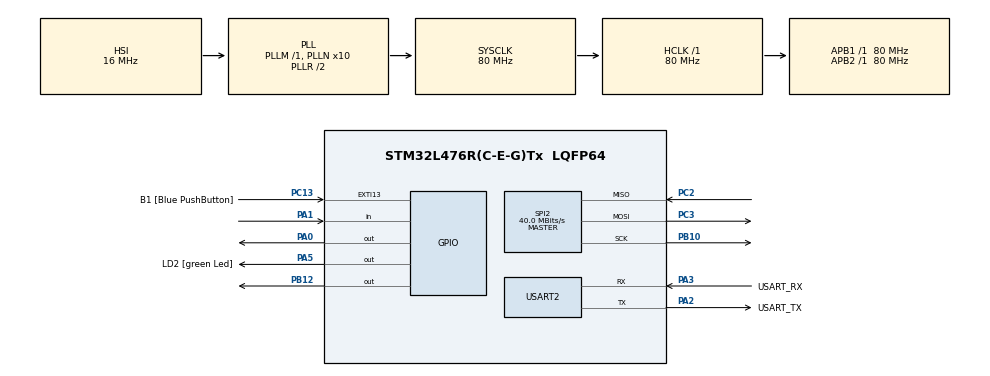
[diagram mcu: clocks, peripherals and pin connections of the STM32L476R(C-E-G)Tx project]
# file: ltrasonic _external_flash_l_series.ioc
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Mcu.Family=STM32L4
Mcu.Name=STM32L476R(C-E-G)Tx
Mcu.Package=LQFP64
NVIC.PriorityGroup=NVIC_PRIORITYGROUP_4
NVIC.TIM2_IRQn=true\:0\:0\:false\:false\:true\:true\:true\:true
PA0.Signal=GPIO_Output
PA1.Signal=GPIO_Input
PA13\ (JTMS-SWDIO).GPIO_Label=TMS
PA13\ (JTMS-SWDIO).Mode=Serial_Wire
PA13\ (JTMS-SWDIO).Signal=SYS_JTMS-SWDIO
PA14\ (JTCK-SWCLK).GPIO_Label=TCK
PA14\ (JTCK-SWCLK).Mode=Serial_Wire
PA14\ (JTCK-SWCLK).Signal=SYS_JTCK-SWCLK
PA2.GPIO_Label=USART_TX
PA2.GPIO_Mode=GPIO_MODE_AF_PP
PA2.GPIO_PuPd=GPIO_NOPULL
PA2.GPIO_Speed=GPIO_SPEED_FREQ_VERY_HIGH
PA2.Mode=Asynchronous
PA2.Signal=USART2_TX
PA3.GPIO_Label=USART_RX
PA3.GPIO_Mode=GPIO_MODE_AF_PP
PA3.GPIO_PuPd=GPIO_NOPULL
PA3.GPIO_Speed=GPIO_SPEED_FREQ_VERY_HIGH
PA3.Mode=Asynchronous
PA3.Signal=USART2_RX
PA5.GPIO_Label=LD2 [green Led]
PA5.GPIO_ModeDefaultOutputPP=GPIO_MODE_OUTPUT_PP
PA5.GPIO_PuPd=GPIO_NOPULL
PA5.GPIO_Speed=GPIO_SPEED_FREQ_LOW
PA5.Signal=GPIO_Output
PB10.Mode=Full_Duplex_Master
PB10.Signal=SPI2_SCK
PB12.PinState=GPIO_PIN_SET
PB12.Signal=GPIO_Output
PB3\ (JTDO-TRACESWO).GPIO_Label=SWO
PB3\ (JTDO-TRACESWO).Signal=SYS_JTDO-SWO
PC13.GPIO_Label=B1 [Blue PushButton]
PC13.GPIO_ModeDefaultEXTI=GPIO_MODE_IT_FALLING
PC13.GPIO_PuPd=GPIO_NOPULL
PC13.Signal=GPXTI13
PC14-OSC32_IN\ (PC14).Mode=LSE-External-Oscillator
PC14-OSC32_IN\ (PC14).Signal=RCC_OSC32_IN
PC15-OSC32_OUT\ (PC15).Mode=LSE-External-Oscillator
PC15-OSC32_OUT\ (PC15).Signal=RCC_OSC32_OUT
PC2.Mode=Full_Duplex_Master
PC2.Signal=SPI2_MISO
PC3.Mode=Full_Duplex_Master
PC3.Signal=SPI2_MOSI
PH0-OSC_IN\ (PH0).Signal=RCC_OSC_IN
PH1-OSC_OUT\ (PH1).Signal=RCC_OSC_OUT
ProjectManager.HeapSize=0x200
ProjectManager.StackSize=0x400
ProjectManager.TargetToolchain=STM32CubeIDE
RCC.ADCFreq_Value=64000000
RCC.AHBFreq_Value=80000000
RCC.APB1Freq_Value=80000000
RCC.APB1TimFreq_Value=80000000
RCC.APB2Freq_Value=80000000
RCC.APB2TimFreq_Value=80000000
RCC.CortexFreq_Value=80000000
RCC.HCLKFreq_Value=80000000
RCC.HSE_VALUE=8000000
RCC.HSI_VALUE=16000000
RCC.MSI_VALUE=4000000
RCC.PLLN=10
RCC.PLLSourceVirtual=RCC_PLLSOURCE_HSI
RCC.PREFETCH_ENABLE=1
RCC.SYSCLKFreq_VALUE=80000000
RCC.SYSCLKSource=RCC_SYSCLKSOURCE_PLLCLK
RCC.USBFreq_Value=64000000
RCC.VCOOutputFreq_Value=160000000
SPI2.BaudRatePrescaler=SPI_BAUDRATEPRESCALER_2
SPI2.CalculateBaudRate=40.0 MBits/s
SPI2.DataSize=SPI_DATASIZE_8BIT
SPI2.Direction=SPI_DIRECTION_2LINES
SPI2.Mode=SPI_MODE_MASTER
SPI2.VirtualType=VM_MASTER
USART2.VirtualMode-Asynchronous=VM_ASYNC
VP_TIM2_VS_ClockSourceINT.Mode=Internal
board=NUCLEO-L476RG

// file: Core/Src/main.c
/* USER CODE BEGIN Header */
/**
 ******************************************************************************
 * @file           : main.c
 * @brief          : Main program body
 ******************************************************************************
 * @attention
 *
 * Copyright (c) 2025 STMicroelectronics.
 * All rights reserved.
 *
 * This software is licensed under terms that can be found in the LICENSE file
 * in the root directory of this software component.
 * If no LICENSE file comes with this software, it is provided AS-IS.
 *
 ******************************************************************************
 */
/* USER CODE END Header */
#include "main.h"

/* USER CODE BEGIN Includes */
#include "w25qxx.h"
/* USER CODE END Includes */

/* USER CODE BEGIN PD */
#define TRIG_PIN GPIO_PIN_0
#define TRIG_PORT GPIOA
#define ECHO_PIN GPIO_PIN_1
#define ECHO_PORT GPIOA
/* USER CODE END PD */

SPI_HandleTypeDef hspi2;

TIM_HandleTypeDef htim2;

UART_HandleTypeDef huart2;

void SystemClock_Config(void);
static void MX_GPIO_Init(void);
static void MX_USART2_UART_Init(void);
static void MX_SPI2_Init(void);
static void MX_TIM2_Init(void);

/* USER CODE BEGIN 0 */
void delay_us(uint16_t us)
{
	__HAL_TIM_SET_COUNTER(&htim2, 0);
	while(__HAL_TIM_GET_COUNTER(&htim2) < us);
}

uint32_t Ultrasonic_Read(void)
{
	uint32_t duration, distance;

	// 1. Trigger pulse 10us
	HAL_GPIO_WritePin(TRIG_PORT, TRIG_PIN, GPIO_PIN_SET);
	delay_us(10);
	HAL_GPIO_WritePin(TRIG_PORT, TRIG_PIN, GPIO_PIN_RESET);

	// 2. Wait for Echo HIGH
	while(HAL_GPIO_ReadPin(ECHO_PORT, ECHO_PIN) == GPIO_PIN_RESET);

	// 3. Measure duration of Echo HIGH
	__HAL_TIM_SET_COUNTER(&htim2, 0);
	while(HAL_GPIO_ReadPin(ECHO_PORT, ECHO_PIN) == GPIO_PIN_SET);
	duration = __HAL_TIM_GET_COUNTER(&htim2);

	// 4. Distance in cm
	distance = duration * 0.034 / 2;

	return distance;
}
/* USER CODE END 0 */

int main(void)
{

  /* USER CODE BEGIN 1 */
//	uint8_t ucDataBuff[] = "Hello Flash Iam From STM32";
//	uint16_t uhTxSize = sizeof(ucDataBuff);
//	uint8_t ucRxBuff[100] = {0};
  /* USER CODE END 1 */

  /* MCU Configuration--------------------------------------------------------*/

  /* Reset of all peripherals, Initializes the Flash interface and the Systick. */
  HAL_Init();

  /* Configure the system clock */
  SystemClock_Config();

  /* Initialize all configured peripherals */
  MX_GPIO_Init();
  MX_USART2_UART_Init();
  MX_SPI2_Init();
  MX_TIM2_Init();
  /* USER CODE BEGIN 2 */

	uint32_t flash_addr = USER_ADDR_1;
  /* USER CODE END 2 */

  /* Infinite loop */
	while (1)
	{

    /* USER CODE BEGIN 3 */

		uint32_t dist = Ultrasonic_Read();
		HAL_Delay(200);
		W25QxxFlashReadData((uint8_t*)&dist, sizeof(dist), flash_addr);

		flash_addr += sizeof(dist);
		HAL_Delay(100);
	}
  /* USER CODE END 3 */
}

void SystemClock_Config(void)
{
  RCC_OscInitTypeDef RCC_OscInitStruct = {0};
  RCC_ClkInitTypeDef RCC_ClkInitStruct = {0};

  /** Configure the main internal regulator output voltage
  */
  if (HAL_PWREx_ControlVoltageScaling(PWR_REGULATOR_VOLTAGE_SCALE1) != HAL_OK)
  {
    Error_Handler();
  }

  /** Initializes the RCC Oscillators according to the specified parameters
  * in the RCC_OscInitTypeDef structure.
  */
  RCC_OscInitStruct.OscillatorType = RCC_OSCILLATORTYPE_HSI;
  RCC_OscInitStruct.HSIState = RCC_HSI_ON;
  RCC_OscInitStruct.HSICalibrationValue = RCC_HSICALIBRATION_DEFAULT;
  RCC_OscInitStruct.PLL.PLLState = RCC_PLL_ON;
  RCC_OscInitStruct.PLL.PLLSource = RCC_PLLSOURCE_HSI;
  RCC_OscInitStruct.PLL.PLLM = 1;
  RCC_OscInitStruct.PLL.PLLN = 10;
  RCC_OscInitStruct.PLL.PLLP = RCC_PLLP_DIV7;
  RCC_OscInitStruct.PLL.PLLQ = RCC_PLLQ_DIV2;
  RCC_OscInitStruct.PLL.PLLR = RCC_PLLR_DIV2;
  if (HAL_RCC_OscConfig(&RCC_OscInitStruct) != HAL_OK)
  {
    Error_Handler();
  }

  /** Initializes the CPU, AHB and APB buses clocks
  */
  RCC_ClkInitStruct.ClockType = RCC_CLOCKTYPE_HCLK|RCC_CLOCKTYPE_SYSCLK
                              |RCC_CLOCKTYPE_PCLK1|RCC_CLOCKTYPE_PCLK2;
  RCC_ClkInitStruct.SYSCLKSource = RCC_SYSCLKSOURCE_PLLCLK;
  RCC_ClkInitStruct.AHBCLKDivider = RCC_SYSCLK_DIV1;
  RCC_ClkInitStruct.APB1CLKDivider = RCC_HCLK_DIV1;
  RCC_ClkInitStruct.APB2CLKDivider = RCC_HCLK_DIV1;

  if (HAL_RCC_ClockConfig(&RCC_ClkInitStruct, FLASH_LATENCY_4) != HAL_OK)
  {
    Error_Handler();
  }
}

static void MX_SPI2_Init(void)
{

  /* SPI2 parameter configuration*/
  hspi2.Instance = SPI2;
  hspi2.Init.Mode = SPI_MODE_MASTER;
  hspi2.Init.Direction = SPI_DIRECTION_2LINES;
  hspi2.Init.DataSize = SPI_DATASIZE_8BIT;
  hspi2.Init.CLKPolarity = SPI_POLARITY_LOW;
  hspi2.Init.CLKPhase = SPI_PHASE_1EDGE;
  hspi2.Init.NSS = SPI_NSS_SOFT;
  hspi2.Init.BaudRatePrescaler = SPI_BAUDRATEPRESCALER_2;
  hspi2.Init.FirstBit = SPI_FIRSTBIT_MSB;
  hspi2.Init.TIMode = SPI_TIMODE_DISABLE;
  hspi2.Init.CRCCalculation = SPI_CRCCALCULATION_DISABLE;
  hspi2.Init.CRCPolynomial = 7;
  hspi2.Init.CRCLength = SPI_CRC_LENGTH_DATASIZE;
  hspi2.Init.NSSPMode = SPI_NSS_PULSE_ENABLE;
  if (HAL_SPI_Init(&hspi2) != HAL_OK)
  {
    Error_Handler();
  }

}

static void MX_TIM2_Init(void)
{

  TIM_ClockConfigTypeDef sClockSourceConfig = {0};
  TIM_MasterConfigTypeDef sMasterConfig = {0};

  htim2.Instance = TIM2;
  htim2.Init.Prescaler = 0;
  htim2.Init.CounterMode = TIM_COUNTERMODE_UP;
  htim2.Init.Period = 4294967295;
  htim2.Init.ClockDivision = TIM_CLOCKDIVISION_DIV1;
  htim2.Init.AutoReloadPreload = TIM_AUTORELOAD_PRELOAD_DISABLE;
  if (HAL_TIM_Base_Init(&htim2) != HAL_OK)
  {
    Error_Handler();
  }
  sClockSourceConfig.ClockSource = TIM_CLOCKSOURCE_INTERNAL;
  if (HAL_TIM_ConfigClockSource(&htim2, &sClockSourceConfig) != HAL_OK)
  {
    Error_Handler();
  }
  sMasterConfig.MasterOutputTrigger = TIM_TRGO_RESET;
  sMasterConfig.MasterSlaveMode = TIM_MASTERSLAVEMODE_DISABLE;
  if (HAL_TIMEx_MasterConfigSynchronization(&htim2, &sMasterConfig) != HAL_OK)
  {
    Error_Handler();
  }

}

static void MX_USART2_UART_Init(void)
{

  huart2.Instance = USART2;
  huart2.Init.BaudRate = 115200;
  huart2.Init.WordLength = UART_WORDLENGTH_8B;
  huart2.Init.StopBits = UART_STOPBITS_1;
  huart2.Init.Parity = UART_PARITY_NONE;
  huart2.Init.Mode = UART_MODE_TX_RX;
  huart2.Init.HwFlowCtl = UART_HWCONTROL_NONE;
  huart2.Init.OverSampling = UART_OVERSAMPLING_16;
  huart2.Init.OneBitSampling = UART_ONE_BIT_SAMPLE_DISABLE;
  huart2.AdvancedInit.AdvFeatureInit = UART_ADVFEATURE_NO_INIT;
  if (HAL_UART_Init(&huart2) != HAL_OK)
  {
    Error_Handler();
  }

}

static void MX_GPIO_Init(void)
{
  GPIO_InitTypeDef GPIO_InitStruct = {0};

  /* GPIO Ports Clock Enable */
  __HAL_RCC_GPIOC_CLK_ENABLE();
  __HAL_RCC_GPIOH_CLK_ENABLE();
  __HAL_RCC_GPIOA_CLK_ENABLE();
  __HAL_RCC_GPIOB_CLK_ENABLE();

  /*Configure GPIO pin Output Level */
  HAL_GPIO_WritePin(GPIOA, GPIO_PIN_0|LD2_Pin, GPIO_PIN_RESET);

  /*Configure GPIO pin Output Level */
  HAL_GPIO_WritePin(GPIOB, GPIO_PIN_12, GPIO_PIN_SET);

  /*Configure GPIO pin : B1_Pin */
  GPIO_InitStruct.Pin = B1_Pin;
  GPIO_InitStruct.Mode = GPIO_MODE_IT_FALLING;
  GPIO_InitStruct.Pull = GPIO_NOPULL;
  HAL_GPIO_Init(B1_GPIO_Port, &GPIO_InitStruct);

  /*Configure GPIO pins : PA0 LD2_Pin */
  GPIO_InitStruct.Pin = GPIO_PIN_0|LD2_Pin;
  GPIO_InitStruct.Mode = GPIO_MODE_OUTPUT_PP;
  GPIO_InitStruct.Pull = GPIO_NOPULL;
  GPIO_InitStruct.Speed = GPIO_SPEED_FREQ_LOW;
  HAL_GPIO_Init(GPIOA, &GPIO_InitStruct);

  /*Configure GPIO pin : PA1 */
  GPIO_InitStruct.Pin = GPIO_PIN_1;
  GPIO_InitStruct.Mode = GPIO_MODE_INPUT;
  GPIO_InitStruct.Pull = GPIO_NOPULL;
  HAL_GPIO_Init(GPIOA, &GPIO_InitStruct);

  /*Configure GPIO pin : PB12 */
  GPIO_InitStruct.Pin = GPIO_PIN_12;
  GPIO_InitStruct.Mode = GPIO_MODE_OUTPUT_PP;
  GPIO_InitStruct.Pull = GPIO_NOPULL;
  GPIO_InitStruct.Speed = GPIO_SPEED_FREQ_LOW;
  HAL_GPIO_Init(GPIOB, &GPIO_InitStruct);

}

void Error_Handler(void)
{
	__disable_irq();
	while (1)
	{
	}
}
